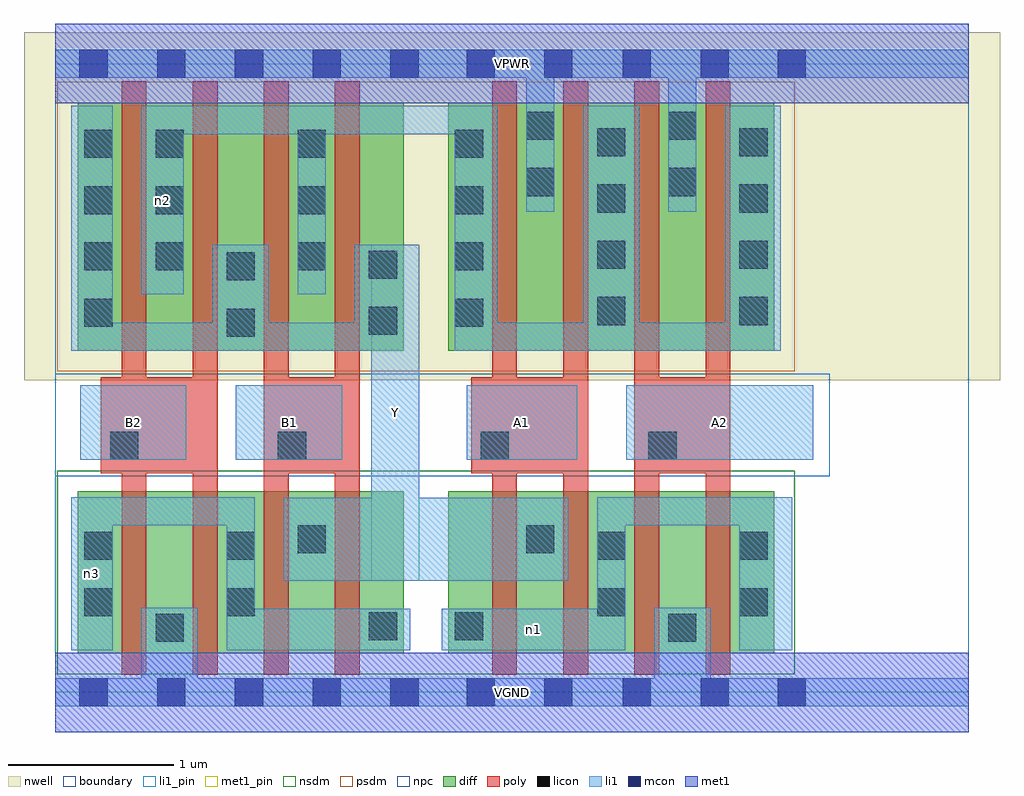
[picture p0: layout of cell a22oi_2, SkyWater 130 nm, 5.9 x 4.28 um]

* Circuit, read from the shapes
.subckt a22oi_2 A1 A2 B1 B2 VGND VPWR Y n1 n2 n3
XM1 VGND B2 n3 VSUBS sky130_fd_pr__nfet_01v8 w=0.98 l=0.15 m=2
XM2 Y B1 n3 VSUBS sky130_fd_pr__nfet_01v8 w=0.98 l=0.15 m=2
XM3 Y A1 n1 VSUBS sky130_fd_pr__nfet_01v8 w=0.98 l=0.15 m=2
XM4 VGND A2 n1 VSUBS sky130_fd_pr__nfet_01v8 w=0.98 l=0.15 m=2
XM5 n2 B2 Y n4 sky130_fd_pr__pfet_01v8 w=1.5 l=0.15 m=2
XM6 n2 B1 Y n4 sky130_fd_pr__pfet_01v8 w=1.5 l=0.15 m=2
XM7 VPWR A1 n2 n4 sky130_fd_pr__pfet_01v8 w=1.5 l=0.15 m=2
XM8 VPWR A2 n2 n4 sky130_fd_pr__pfet_01v8 w=1.5 l=0.15 m=2
.ends

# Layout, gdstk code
import gdstk
lib = gdstk.Library(unit=1e-6, precision=1e-09)
def R(c, l, rs):  # rectangles x0, y0, x1, y1
    for r in rs: c.add(gdstk.rectangle(r[:2], r[2:], *l))
def A(c, l, x, y, w, h, nx, ny, dx, dy):  # array of equal rectangles
    R(c, l, [(x+i*dx, y+j*dy, x+i*dx+w, y+j*dy+h) for i in range(nx) for j in range(ny)])
nwell = (64, 20)
diff = (65, 20)
poly = (66, 20)
licon = (66, 44)
li1_pin = (67, 16)
li1 = (67, 20)
mcon = (67, 44)
met1_pin = (68, 16)
met1 = (68, 20)
nsdm = (93, 44)
psdm = (94, 20)
npc = (95, 20)
boundary = (235, 4)

a22oi_2 = lib.new_cell('a22oi_2')
R(a22oi_2, nwell, [(-0.19,1.885,5.71,3.99), (0,1.885,5.52,3.99)])
R(a22oi_2, diff, [(0.135,0.235,2.105,1.215), (2.375,0.235,4.345,1.215), (0.135,2.065,2.105,3.565), (2.375,2.065,4.345,3.565)])
A(a22oi_2, poly, 0.4, 0.105, 0.15, 3.59, 4, 1, 0.43, 0)
A(a22oi_2, poly, 2.64, 0.105, 0.15, 3.59, 4, 1, 0.43, 0)
R(a22oi_2, poly, [(0.275,1.325,0.98,1.905), (1.26,1.325,1.84,1.905), (2.515,1.325,3.22,1.905), (3.5,1.325,4.08,1.905)])
A(a22oi_2, licon, 0.175, 2.21, 0.17, 0.17, 1, 4, 0, 0.34)
A(a22oi_2, licon, 2.415, 2.21, 0.17, 0.17, 1, 4, 0, 0.34)
A(a22oi_2, licon, 3.275, 2.22, 0.17, 0.17, 1, 4, 0, 0.34)
A(a22oi_2, licon, 4.135, 2.22, 0.17, 0.17, 1, 4, 0, 0.34)
A(a22oi_2, licon, 0.605, 2.55, 0.17, 0.17, 1, 3, 0, 0.34)
A(a22oi_2, licon, 1.465, 2.55, 0.17, 0.17, 1, 3, 0, 0.34)
R(a22oi_2, licon, [(0.605,0.305,0.775,0.475), (3.705,0.305,3.875,0.475), (1.895,0.315,2.065,0.485), (2.415,0.315,2.585,0.485), (0.175,0.46,0.345,0.63), (1.035,0.46,1.205,0.63), (3.275,0.46,3.445,0.63), (4.135,0.46,4.305,0.63), (0.175,0.8,0.345,0.97), (1.035,0.8,1.205,0.97), (3.275,0.8,3.445,0.97), (4.135,0.8,4.305,0.97), (1.465,0.84,1.635,1.01), (2.845,0.84,3.015,1.01), (0.33,1.405,0.5,1.575), (1.345,1.405,1.515,1.575), (2.57,1.405,2.74,1.575), (3.585,1.405,3.755,1.575), (1.035,2.15,1.205,2.32), (1.895,2.16,2.065,2.33), (1.035,2.49,1.205,2.66), (1.895,2.5,2.065,2.67), (2.845,3,3.015,3.17), (3.705,3,3.875,3.17), (2.845,3.34,3.015,3.51), (3.705,3.34,3.875,3.51)])
R(a22oi_2, li1_pin, [(1.91,0.675,2.2,2.705), (0.15,1.405,0.79,1.855), (1.09,1.405,1.735,1.855), (2.485,1.405,3.155,1.855), (3.45,1.405,4.58,1.855)])
R(a22oi_2, li1, [(0,-0.085,5.52,0.085), (0.52,-0.085,0.86,0.51), (3.62,-0.085,3.96,0.51), (0.095,0.255,0.345,1.18), (1.035,0.255,2.145,0.505), (1.035,0.255,1.205,1.18), (2.335,0.255,3.445,0.505), (3.275,0.255,3.445,1.18), (4.135,0.255,4.455,1.18), (1.38,0.675,3.1,1.175), (1.91,0.675,2.2,2.705), (0.095,1.01,1.205,1.18), (3.275,1.01,4.455,1.18), (0.15,1.405,0.79,1.855), (1.09,1.405,1.735,1.855), (2.485,1.405,3.155,1.855), (3.45,1.405,4.58,1.855), (0.095,2.065,2.2,2.235), (0.095,2.065,0.345,3.545), (0.95,2.065,1.29,2.705), (1.81,2.065,2.2,2.705), (2.415,2.065,4.385,2.235), (2.415,2.065,2.67,3.545), (3.19,2.065,3.53,3.545), (4.05,2.065,4.385,3.545), (0.52,2.405,0.775,3.545), (1.465,2.405,1.635,3.545), (2.845,2.905,3.015,3.885), (3.705,2.905,3.875,3.885), (0.52,3.375,2.67,3.545), (0,3.715,5.52,3.885)])
A(a22oi_2, mcon, 0.145, -0.085, 0.17, 0.17, 5, 2, 0.47, 3.8)
R(a22oi_2, mcon, [(2.485,-0.085,2.655,0.085), (2.955,-0.085,3.125,0.085), (3.43,-0.085,3.6,0.085), (3.9,-0.085,4.07,0.085), (4.365,-0.085,4.535,0.085), (2.485,3.715,2.655,3.885), (2.955,3.715,3.125,3.885), (3.43,3.715,3.6,3.885), (3.9,3.715,4.07,3.885), (4.365,3.715,4.535,3.885)])
R(a22oi_2, met1_pin, [(0,-0.24,5.52,0.24), (0,3.56,5.52,4.04)])
R(a22oi_2, met1, [(0,-0.24,5.52,0.24), (0,3.56,5.52,4.04)])
R(a22oi_2, nsdm, [(0.01,0.11,4.47,1.34)])
R(a22oi_2, psdm, [(0.01,1.94,4.47,3.69)])
R(a22oi_2, npc, [(0,1.305,4.68,1.925)])
R(a22oi_2, boundary, [(0,0,5.52,3.8)])
a22oi_2.add(gdstk.Label('A1', (2.82,1.63), layer=67, texttype=5))
a22oi_2.add(gdstk.Label('A2', (4.015,1.63), layer=67, texttype=5))
a22oi_2.add(gdstk.Label('B1', (1.412,1.63), layer=67, texttype=5))
a22oi_2.add(gdstk.Label('B2', (0.47,1.63), layer=67, texttype=5))
a22oi_2.add(gdstk.Label('Y', (2.055,1.69), layer=67, texttype=5))
a22oi_2.add(gdstk.Label('n3', (0.22,0.717), layer=67, texttype=5))
a22oi_2.add(gdstk.Label('n1', (2.89,0.38), layer=67, texttype=5))
a22oi_2.add(gdstk.Label('n2', (0.647,2.975), layer=67, texttype=5))
a22oi_2.add(gdstk.Label('VPWR', (2.76,3.8), layer=68, texttype=5))
a22oi_2.add(gdstk.Label('VGND', (2.76,0), layer=68, texttype=5))
a22oi_2.add(gdstk.Label('A1', (2.82,1.63), layer=67, texttype=16))
a22oi_2.add(gdstk.Label('A2', (4.015,1.63), layer=67, texttype=16))
a22oi_2.add(gdstk.Label('B1', (1.412,1.63), layer=67, texttype=16))
a22oi_2.add(gdstk.Label('B2', (0.47,1.63), layer=67, texttype=16))
a22oi_2.add(gdstk.Label('Y', (2.055,1.69), layer=67, texttype=16))
a22oi_2.add(gdstk.Label('VPWR', (2.76,3.8), layer=68, texttype=16))
a22oi_2.add(gdstk.Label('VGND', (2.76,0), layer=68, texttype=16))

lib.write_gds('a22oi_2.gds')
